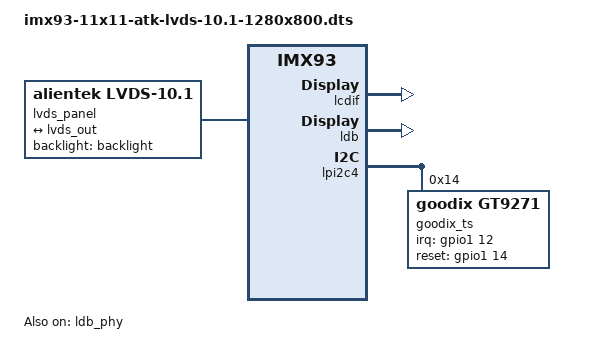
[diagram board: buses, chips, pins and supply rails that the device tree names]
// SPDX-License-Identifier: (GPL-2.0+ OR MIT)
/*
 * Copyright 2022 NXP
 */

#include "imx93-11x11-atk.dts"

/ {
    	lvds_panel {
		status = "okay";
		compatible = "alientek,lvds-10.1";
		backlight = <&backlight>;
		
		
		port {
			panel_lvds_in: endpoint {
				remote-endpoint = <&lvds_out>;
			};
		};
	};	

};

&lcdif {
	status = "okay";
	assigned-clock-rates = <509696460>, <72813780>, <400000000>, <133333333>;
};

&ldb {
	status = "okay";

	lvds-channel@0 {
		status = "okay";
		fsl,data-mapping = "spwg";
		fsl,data-width = <24>;

		port@1 {
			reg = <1>;

			lvds_out: endpoint {
				remote-endpoint = <&panel_lvds_in>;
			};
		};
	};
};

&ldb_phy {
	status = "okay";
};

&lpi2c4 {
    goodix_ts@14 {
		compatible = "goodix,gt9271", "goodix,gt911";
		reg = <0x14>;
		pinctrl-names = "default";
		pinctrl-0 = <&pinctrl_tp_int>;
		interrupt-parent = <&gpio1>;
		interrupts = <12 IRQ_TYPE_EDGE_RISING>;
		irq-gpios = <&gpio1 12 GPIO_ACTIVE_HIGH>;
		reset-gpios = <&gpio1 14 GPIO_ACTIVE_HIGH>;
		touchscreen-xy-rotation90;
		status = "okay";
	};
};

&iomuxc {
	pinctrl_tp_int: tp_int_grp {
		fsl,pins = <
			MX93_PAD_SAI1_TXC__GPIO1_IO12			0x31e
		>;
	};

	pinctrl_tp_reset: tp_reset_grp {
		fsl,pins = <
			MX93_PAD_CCM_CLKO4__GPIO4_IO29			0x31e
		>;
	};
};

&dphy {
	status = "disabled";
};

&dsi {
	status = "disabled";
};
